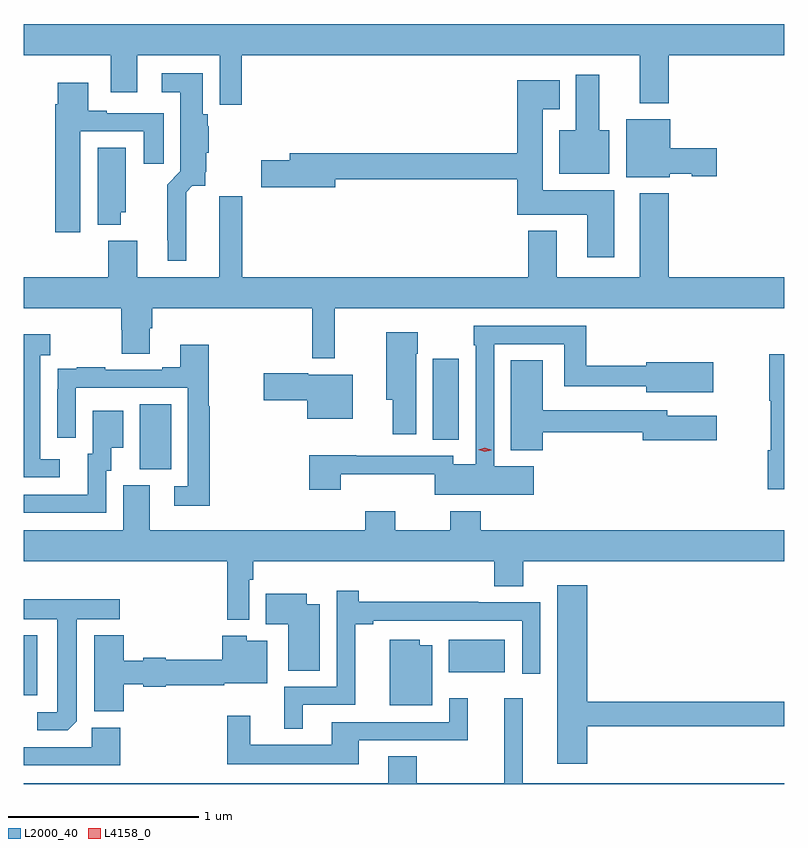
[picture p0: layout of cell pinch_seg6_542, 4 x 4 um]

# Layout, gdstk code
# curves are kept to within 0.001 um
import gdstk
lib = gdstk.Library(unit=1e-6, precision=1e-09)
def R(c, l, rs):  # rectangles x0, y0, x1, y1
    for r in rs: c.add(gdstk.rectangle(r[:2], r[2:], *l))
def P(c, l, *ps):  # polygons
    for p in ps: c.add(gdstk.Polygon(p, *l))
L2000_40 = (2000, 40)
L4158_0 = (4158, 0)

pinch_seg6_542 = lib.new_cell('pinch_seg6_542')
R(pinch_seg6_542, L2000_40, [(515.29,983.928,515.359,984.244), (517.526,984.05,517.819,984.22), (515.9,985.117,516.064,985.46), (517.442,985.273,517.579,985.699)])
P(pinch_seg6_542, L2000_40, [(516.437,987.296),(518.531,987.296),(518.531,987.044),(518.684,987.044),(518.684,987.296),(519.29,987.296),(519.29,987.46),(515.29,987.46),(515.29,987.296),(515.747,987.296),(515.747,987.102),(515.887,987.102),(515.887,987.296),(516.321,987.296),(516.321,987.036),(516.437,987.036)],
  [(516.145,986.576),(516.177,986.609),(516.244,986.609),(516.244,986.677),(516.25,986.683),(516.25,986.782),(516.263,986.782),(516.263,986.922),(516.257,986.922),(516.257,986.985),(516.232,986.985),(516.232,987.202),(516.015,987.202),(516.015,987.101),(516.113,987.101),(516.113,986.684),(516.043,986.614),(516.043,986.323),(516.047,986.323),(516.047,986.213),(516.145,986.213)],
  [(518.371,986.902),(518.317,986.902),(518.317,987.193),(518.195,987.193),(518.195,986.902),(518.108,986.902),(518.108,986.672),(518.371,986.672)],
  [(518.395,986.584),(518.02,986.584),(518.02,987.011),(518.11,987.011),(518.11,987.163),(517.886,987.163),(517.886,986.78),(516.689,986.78),(516.689,986.744),(516.54,986.744),(516.54,986.602),(516.928,986.602),(516.928,986.644),(517.886,986.644),(517.886,986.456),(518.255,986.456),(518.255,986.232),(518.395,986.232)],
  [(515.587,986.895),(515.921,986.895),(515.921,986.724),(516.025,986.724),(516.025,986.991),(515.725,986.991),(515.725,987.004),(515.629,987.004),(515.629,987.151),(515.468,987.151),(515.468,987.038),(515.456,987.038),(515.456,986.364),(515.587,986.364)],
  [(518.688,986.672),(518.805,986.672),(518.805,986.66),(518.935,986.66),(518.935,986.807),(518.692,986.807),(518.692,986.959),(518.459,986.959),(518.459,986.654),(518.688,986.654)],
  [(515.8,986.469),(515.827,986.469),(515.827,986.81),(515.678,986.81),(515.678,986.405),(515.8,986.405)],
  [(516.806,985.701),(516.926,985.701),(516.926,985.964),(519.29,985.964),(519.29,986.128),(518.684,986.128),(518.684,986.569),(518.531,986.569),(518.531,986.128),(518.095,986.128),(518.095,986.371),(517.943,986.371),(517.943,986.128),(516.44,986.128),(516.44,986.554),(516.317,986.554),(516.317,986.128),(515.887,986.128),(515.887,986.32),(515.735,986.32),(515.735,986.128),(515.29,986.128),(515.29,985.964),(515.801,985.964),(515.801,985.851),(515.806,985.851),(515.806,985.726),(515.953,985.726),(515.953,985.858),(515.966,985.858),(515.966,985.964),(516.806,985.964)],
  [(517.972,985.132),(517.764,985.132),(517.764,985.776),(518.133,985.776),(518.133,985.554),(518.564,985.554),(518.564,985.523),(518.917,985.523),(518.917,985.681),(518.564,985.681),(518.564,985.663),(518.249,985.663),(518.249,985.872),(517.656,985.872),(517.656,985.769),(517.668,985.769),(517.668,985.144),(517.548,985.144),(517.548,985.188),(517.039,985.188),(517.039,985.19),(516.791,985.19),(516.791,985.008),(516.956,985.008),(516.956,985.091),(517.452,985.091),(517.452,984.983),(517.972,984.983)],
  [(517.354,985.724),(517.362,985.724),(517.362,985.837),(517.196,985.837),(517.196,985.484),(517.232,985.484),(517.232,985.302),(517.354,985.302)],
  [(515.479,985.17),(515.376,985.17),(515.376,985.718),(515.428,985.718),(515.428,985.828),(515.29,985.828),(515.29,985.074),(515.479,985.074)],
  [(516.269,985.448),(516.262,985.448),(516.262,985.771),(516.113,985.771),(516.113,985.654),(516.017,985.654),(516.017,985.641),(515.717,985.641),(515.717,985.654),(515.569,985.654),(515.569,985.647),(515.467,985.647),(515.467,985.538),(515.466,985.538),(515.466,985.284),(515.562,985.284),(515.562,985.545),(516.153,985.545),(516.153,985.029),(516.081,985.029),(516.081,984.924),(516.269,984.924)],
  [(519.29,985.723),(519.213,985.723),(519.213,985.478),(519.22,985.478),(519.22,985.217),(519.205,985.217),(519.205,985.013),(519.29,985.013)],
  [(518.02,985.312),(518.546,985.312),(518.546,985.27),(518.935,985.27),(518.935,985.399),(518.674,985.399),(518.674,985.428),(518.02,985.428),(518.02,985.691),(517.853,985.691),(517.853,985.217),(518.02,985.217)],
  [(517.021,985.615),(516.786,985.615),(516.786,985.622),(516.552,985.622),(516.552,985.481),(516.782,985.481),(516.782,985.382),(517.021,985.382)],
  [(515.724,985.11),(515.749,985.11),(515.749,985.229),(515.812,985.229),(515.812,985.426),(515.651,985.426),(515.651,985.2),(515.627,985.2),(515.627,984.984),(515.29,984.984),(515.29,984.888),(515.724,984.888)],
  [(516.477,984.536),(516.497,984.536),(516.497,984.632),(517.766,984.632),(517.766,984.502),(517.918,984.502),(517.918,984.632),(519.29,984.632),(519.29,984.796),(517.694,984.796),(517.694,984.895),(517.534,984.895),(517.534,984.796),(517.245,984.796),(517.245,984.895),(517.085,984.895),(517.085,984.796),(515.953,984.796),(515.953,985.032),(515.813,985.032),(515.813,984.796),(515.29,984.796),(515.29,984.632),(516.361,984.632),(516.361,984.326),(516.477,984.326)],
  [(518.255,983.766),(519.29,983.766),(519.29,983.894),(518.255,983.894),(518.255,984.508),(518.096,984.508),(518.096,983.568),(518.255,983.568)],
  [(516.757,983.877),(517.034,983.877),(517.034,984.301),(517.129,984.301),(517.129,984.321),(517.911,984.321),(517.911,984.042),(518.007,984.042),(518.007,984.417),(517.682,984.417),(517.682,984.419),(517.052,984.419),(517.052,984.478),(516.936,984.478),(516.936,983.973),(516.659,983.973),(516.659,983.753),(516.757,983.753)],
  [(516.847,984.406),(516.778,984.406),(516.778,984.463),(516.562,984.463),(516.562,984.302),(516.68,984.302),(516.68,984.058),(516.847,984.058)],
  [(515.568,983.791),(515.569,984.329),(515.794,984.329),(515.794,984.433),(515.29,984.433),(515.29,984.329),(515.465,984.329),(515.465,983.838),(515.361,983.838),(515.361,983.745),(515.522,983.745)],
  [(515.816,983.987),(515.918,983.987),(515.918,983.972),(516.036,983.972),(516.036,983.98),(516.345,983.98),(516.345,983.99),(516.571,983.99),(516.571,984.214),(516.462,984.214),(516.462,984.241),(516.334,984.241),(516.334,984.116),(516.036,984.116),(516.036,984.124),(515.918,984.124),(515.918,984.109),(515.816,984.109),(515.816,984.244),(515.66,984.244),(515.66,983.843),(515.816,983.843)],
  [(517.438,984.19),(517.372,984.19),(517.372,984.22),(517.214,984.22),(517.214,983.876),(517.438,983.876)],
  [(517.051,983.691),(517.625,983.691),(517.625,983.911),(517.527,983.911),(517.527,983.787),(516.911,983.787),(516.911,983.668),(516.481,983.668),(516.481,983.821),(516.36,983.821),(516.36,983.564),(517.051,983.564)],
  [(519.29,983.464),(517.916,983.464),(517.916,983.911),(517.817,983.911),(517.817,983.464),(517.356,983.464),(517.356,983.606),(517.208,983.606),(517.208,983.464),(515.29,983.464),(515.29,983.461),(519.29,983.461)],
  [(515.798,983.758),(515.646,983.758),(515.646,983.655),(515.29,983.655),(515.29,983.559),(515.798,983.559)])
P(pinch_seg6_542, L4158_0, [(517.715,985.21),(517.681,985.221),(517.68,985.221),(517.681,985.221),(517.716,985.23),(517.75,985.219),(517.75,985.219),(517.75,985.218)])

lib.write_gds('pinch_seg6_542.gds')
